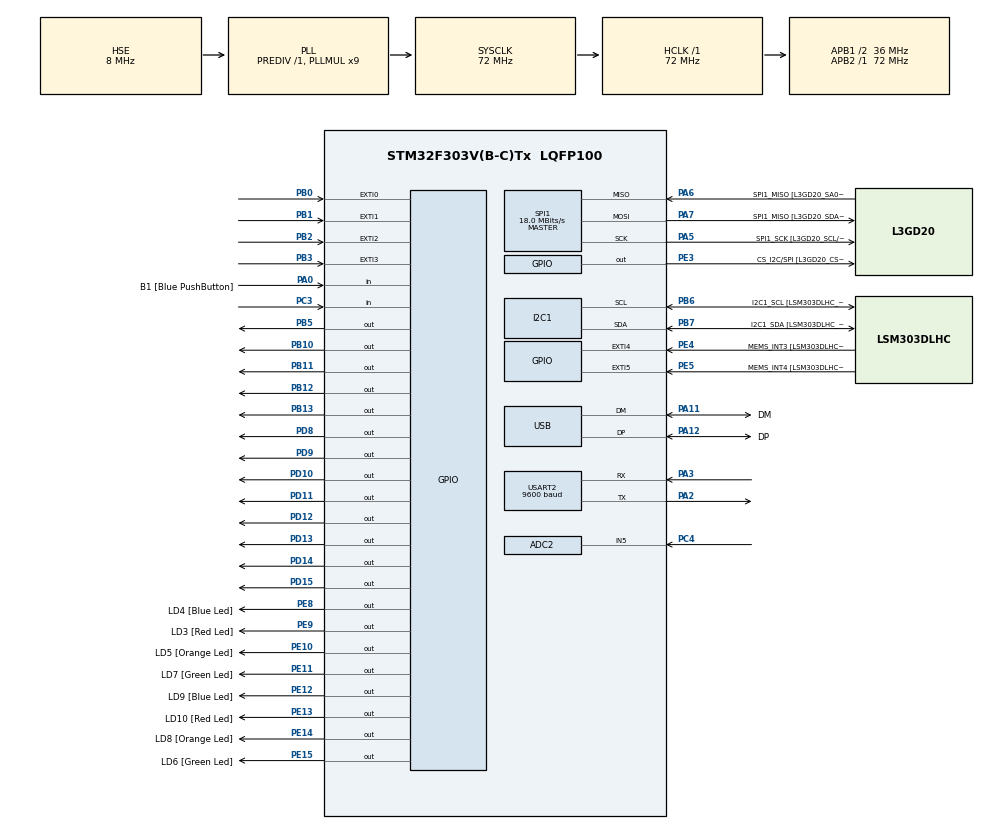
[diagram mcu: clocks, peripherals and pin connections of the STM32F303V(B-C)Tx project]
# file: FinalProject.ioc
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ADC2.Channel-0\#ChannelRegularConversion=ADC_CHANNEL_5
ADC2.NbrOfConversionFlag=1
ADC2.Offset-0\#ChannelRegularConversion=0
ADC2.OffsetNumber-0\#ChannelRegularConversion=ADC_OFFSET_NONE
ADC2.Rank-0\#ChannelRegularConversion=1
ADC2.SamplingTime-0\#ChannelRegularConversion=ADC_SAMPLETIME_601CYCLES_5
ADC2.SamplingTimeOPAMP-0\#ChannelRegularConversion=ADC_SAMPLETIME_61CYCLES_5
I2C1.Timing-I2C=0x2000090E
Mcu.Family=STM32F3
Mcu.Name=STM32F303V(B-C)Tx
Mcu.Package=LQFP100
NVIC.ADC1_2_IRQn=true\:3\:0\:true\:false\:true\:true\:true
NVIC.EXTI0_IRQn=true\:1\:0\:true\:false\:true\:true\:true
NVIC.EXTI1_IRQn=true\:1\:0\:true\:false\:true\:true\:true
NVIC.EXTI2_TSC_IRQn=true\:1\:0\:true\:false\:true\:true\:true
NVIC.EXTI3_IRQn=true\:1\:0\:true\:false\:true\:true\:true
NVIC.PriorityGroup=NVIC_PRIORITYGROUP_2
NVIC.TIM2_IRQn=true\:1\:0\:true\:false\:true\:true\:true
NVIC.USART2_IRQn=true\:1\:0\:true\:false\:true\:true\:true
PA0.GPIO_Label=B1 [Blue PushButton]
PA0.Signal=GPIO_Input
PA11.GPIO_Label=DM
PA11.Mode=Device
PA11.Signal=USB_DM
PA12.GPIO_Label=DP
PA12.Mode=Device
PA12.Signal=USB_DP
PA13.GPIO_Label=SWDIO
PA13.Mode=Serial_Wire
PA13.Signal=SYS_JTMS-SWDIO
PA14.GPIO_Label=SWCLK
PA14.Mode=Serial_Wire
PA14.Signal=SYS_JTCK-SWCLK
PA2.Mode=Asynchronous
PA2.Signal=USART2_TX
PA3.Mode=Asynchronous
PA3.Signal=USART2_RX
PA5.GPIO_Label=SPI1_SCK [L3GD20_SCL/SPC]
PA5.Mode=Full_Duplex_Master
PA5.Signal=SPI1_SCK
PA6.GPIO_Label=SPI1_MISO [L3GD20_SA0/SDO]
PA6.Mode=Full_Duplex_Master
PA6.Signal=SPI1_MISO
PA7.GPIO_Label=SPI1_MISO [L3GD20_SDA/SDI/SDO]
PA7.Mode=Full_Duplex_Master
PA7.Signal=SPI1_MOSI
PB0.GPIO_PuPd=GPIO_PULLDOWN
PB0.Signal=GPXTI0
PB1.GPIO_PuPd=GPIO_PULLDOWN
PB1.Signal=GPXTI1
PB10.Signal=GPIO_Output
PB11.Signal=GPIO_Output
PB12.Signal=GPIO_Output
PB13.Signal=GPIO_Output
PB2.GPIO_PuPd=GPIO_PULLDOWN
PB2.Signal=GPXTI2
PB3.GPIO_PuPd=GPIO_PULLDOWN
PB3.Signal=GPXTI3
PB5.Signal=GPIO_Output
PB6.GPIO_Label=I2C1_SCL [LSM303DLHC_SCL]
PB6.Mode=I2C
PB6.Signal=I2C1_SCL
PB7.GPIO_Label=I2C1_SDA [LSM303DLHC_SDA]
PB7.Mode=I2C
PB7.Signal=I2C1_SDA
PC14-OSC32_IN.GPIO_Label=OSC32_IN
PC14-OSC32_IN.Signal=RCC_OSC32_IN
PC15-OSC32_OUT.GPIO_Label=OSC32_OUT
PC15-OSC32_OUT.Signal=RCC_OSC32_OUT
PC3.Signal=GPIO_Input
PC4.Mode=IN5-Single-Ended
PC4.Signal=ADC2_IN5
PD10.Signal=GPIO_Output
PD11.Signal=GPIO_Output
PD12.Signal=GPIO_Output
PD13.Signal=GPIO_Output
PD14.Signal=GPIO_Output
PD15.Signal=GPIO_Output
PD8.Signal=GPIO_Output
PD9.Signal=GPIO_Output
PE10.GPIO_Label=LD5 [Orange Led]
PE10.Signal=GPIO_Output
PE11.GPIO_Label=LD7 [Green Led]
PE11.Signal=GPIO_Output
PE12.GPIO_Label=LD9 [Blue Led]
PE12.Signal=GPIO_Output
PE13.GPIO_Label=LD10 [Red Led]
PE13.Signal=GPIO_Output
PE14.GPIO_Label=LD8 [Orange Led]
PE14.Signal=GPIO_Output
PE15.GPIO_Label=LD6 [Green Led]
PE15.Signal=GPIO_Output
PE3.GPIO_Label=CS_I2C/SPI [L3GD20_CS_I2C/SPI]
PE3.Signal=GPIO_Output
PE4.GPIO_Label=MEMS_INT3 [LSM303DLHC_INT1]
PE4.GPIO_ModeDefaultEXTI=GPIO_MODE_EVT_RISING
PE4.Signal=GPXTI4
PE5.GPIO_Label=MEMS_INT4 [LSM303DLHC_INT2]
PE5.GPIO_ModeDefaultEXTI=GPIO_MODE_EVT_RISING
PE5.Signal=GPXTI5
PE8.GPIO_Label=LD4 [Blue Led]
PE8.Signal=GPIO_Output
PE9.GPIO_Label=LD3 [Red Led]
PE9.Signal=GPIO_Output
PF0-OSC_IN.GPIO_Label=OSC_IN
PF0-OSC_IN.Mode=HSE-External-Clock-Source
PF0-OSC_IN.Signal=RCC_OSC_IN
PF1-OSC_OUT.GPIO_Label=OSC_OUT
PF1-OSC_OUT.Signal=RCC_OSC_OUT
ProjectManager.HeapSize=0x200
ProjectManager.StackSize=0x400
ProjectManager.TargetToolchain=STM32CubeIDE
RCC.AHBFreq_Value=72000000
RCC.APB1CLKDivider=RCC_HCLK_DIV2
RCC.APB1Freq_Value=36000000
RCC.APB1TimFreq_Value=72000000
RCC.APB2Freq_Value=72000000
RCC.APB2TimFreq_Value=72000000
RCC.CortexFreq_Value=72000000
RCC.HCLKFreq_Value=72000000
RCC.HSE_VALUE=8000000
RCC.HSI_VALUE=8000000
RCC.LSE_VALUE=32768
RCC.PLLMUL=RCC_PLL_MUL9
RCC.PRESCALERUSB=RCC_USBCLKSOURCE_PLL_DIV1_5
RCC.SYSCLKFreq_VALUE=72000000
RCC.SYSCLKSourceVirtual=RCC_SYSCLKSOURCE_PLLCLK
RCC.USBFreq_Value=48000000
SPI1.BaudRatePrescaler=SPI_BAUDRATEPRESCALER_4
SPI1.BaudRatePrescaler-Full_Duplex_Master=SPI_BAUDRATEPRESCALER_2
SPI1.CalculateBaudRate=18.0 MBits/s
SPI1.CalculateBaudRate-Full_Duplex_Master=24.0 MBits/s
SPI1.Direction=SPI_DIRECTION_2LINES
SPI1.Mode=SPI_MODE_MASTER
SPI1.Mode-Full_Duplex_Master=SPI_MODE_MASTER
SPI1.VirtualType=VM_MASTER
TIM2.Period=100
TIM2.Prescaler=959
USART2.BaudRate=9600
USART2.VirtualMode-Asynchronous=VM_ASYNC
VP_TIM2_VS_ClockSourceINT.Mode=Internal
board=STM32F3DISCOVERY

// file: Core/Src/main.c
/* USER CODE BEGIN Header */
/**
 ******************************************************************************
 * @file           : main.c
 * @brief          : Main program body
 ******************************************************************************
 * @attention
 *
 * <h2><center>&copy; Copyright (c) 2021 STMicroelectronics.
 * All rights reserved.</center></h2>
 *
 * This software component is licensed by ST under BSD 3-Clause license,
 * the "License"; You may not use this file except in compliance with the
 * License. You may obtain a copy of the License at:
 *                        opensource.org/licenses/BSD-3-Clause
 *
 ******************************************************************************
 */
/* USER CODE END Header */
#include "main.h"

/* USER CODE BEGIN Includes */
#include "stm32f3xx_it.h"
#include "Map.h"
/* USER CODE END Includes */

/* USER CODE BEGIN PD */
int eachSevenSegment[4] = { 0, 0, 0, 0 };
int time_stamp;

/* USER CODE END PD */

ADC_HandleTypeDef hadc2;

I2C_HandleTypeDef hi2c1;

SPI_HandleTypeDef hspi1;

TIM_HandleTypeDef htim2;

UART_HandleTypeDef huart2;

PCD_HandleTypeDef hpcd_USB_FS;

/* USER CODE BEGIN PV */
unsigned char data[1];

/* USER CODE END PV */

void SystemClock_Config(void);
static void MX_GPIO_Init(void);
static void MX_I2C1_Init(void);
static void MX_SPI1_Init(void);
static void MX_USB_PCD_Init(void);
static void MX_TIM2_Init(void);
static void MX_ADC2_Init(void);
static void MX_USART2_UART_Init(void);

/* USER CODE BEGIN 0 */
void init_first() {
	__HAL_RCC_GPIOC_CLK_ENABLE();
	__HAL_RCC_GPIOD_CLK_ENABLE();

	GPIO_InitTypeDef temp1;
	temp1.Pin = GPIO_PIN_8 | GPIO_PIN_9 | GPIO_PIN_10 | GPIO_PIN_11  |GPIO_PIN_3;
	temp1.Mode = GPIO_MODE_OUTPUT_PP;
	temp1.Speed = GPIO_SPEED_FREQ_HIGH;
	HAL_GPIO_Init(GPIOC, &temp1);

	GPIO_InitTypeDef outputs;
	outputs.Pin = GPIO_PIN_0 | GPIO_PIN_1 | GPIO_PIN_2 | GPIO_PIN_3;
	outputs.Mode = GPIO_MODE_OUTPUT_PP;
	outputs.Speed = GPIO_SPEED_FREQ_HIGH;
	HAL_GPIO_Init(GPIOD, &outputs);
////////////
	LiquidCrystal(GPIOD, GPIO_PIN_8, GPIO_PIN_9, GPIO_PIN_10, GPIO_PIN_11,
	GPIO_PIN_12, GPIO_PIN_13, GPIO_PIN_14);
	begin(20, 4);
	threshold = 5;
	current_start_map = 1;
	start = 1;
	for (int var = 0; var < 4; ++var) {
		eachSevenSegment[var] = 0;
	}
	time_stamp = HAL_GetTick();
	__HAL_RCC_GPIOB_CLK_ENABLE();
	GPIO_InitTypeDef temp;
	temp.Pin = GPIO_PIN_10 | GPIO_PIN_11 | GPIO_PIN_12 | GPIO_PIN_13;
	temp.Mode = GPIO_MODE_OUTPUT_PP;
	temp.Speed = GPIO_SPEED_FREQ_HIGH;
	HAL_GPIO_Init(GPIOB, &temp);
	HAL_GPIO_WritePin(GPIOB, GPIO_PIN_10, GPIO_PIN_SET);
	HAL_GPIO_WritePin(GPIOB, GPIO_PIN_11, GPIO_PIN_SET);
	HAL_GPIO_WritePin(GPIOB, GPIO_PIN_12, GPIO_PIN_SET);
	HAL_GPIO_WritePin(GPIOB, GPIO_PIN_13, GPIO_PIN_SET);
	HAL_GPIO_WritePin(GPIOE, GPIO_PIN_9, 1);
	HAL_GPIO_WritePin(GPIOE, GPIO_PIN_10, 1);
	HAL_GPIO_WritePin(GPIOE, GPIO_PIN_8, 1);
}
/* USER CODE END 0 */

int main(void)
{

  /* MCU Configuration--------------------------------------------------------*/

  /* Reset of all peripherals, Initializes the Flash interface and the Systick. */
  HAL_Init();

  /* USER CODE BEGIN Init */
	__HAL_RCC_GPIOD_CLK_ENABLE();

  /* USER CODE END Init */

  /* Configure the system clock */
  SystemClock_Config();

  /* Initialize all configured peripherals */
  MX_GPIO_Init();
  MX_I2C1_Init();
  MX_SPI1_Init();
  MX_USB_PCD_Init();
  MX_TIM2_Init();
  MX_ADC2_Init();
  MX_USART2_UART_Init();
  /* USER CODE BEGIN 2 */
	//initial
	init_first();
	create_rows();
	HAL_TIM_Base_Start_IT(&htim2);
	HAL_UART_Receive_IT(&huart2, data, sizeof(data));

	HAL_ADC_Start_IT(&hadc2);

  /* USER CODE END 2 */

  /* Infinite loop */
	while (1) {

	}
}

void SystemClock_Config(void)
{
  RCC_OscInitTypeDef RCC_OscInitStruct = {0};
  RCC_ClkInitTypeDef RCC_ClkInitStruct = {0};
  RCC_PeriphCLKInitTypeDef PeriphClkInit = {0};

  /** Initializes the RCC Oscillators according to the specified parameters
  * in the RCC_OscInitTypeDef structure.
  */
  RCC_OscInitStruct.OscillatorType = RCC_OSCILLATORTYPE_HSI|RCC_OSCILLATORTYPE_HSE;
  RCC_OscInitStruct.HSEState = RCC_HSE_BYPASS;
  RCC_OscInitStruct.HSEPredivValue = RCC_HSE_PREDIV_DIV1;
  RCC_OscInitStruct.HSIState = RCC_HSI_ON;
  RCC_OscInitStruct.HSICalibrationValue = RCC_HSICALIBRATION_DEFAULT;
  RCC_OscInitStruct.PLL.PLLState = RCC_PLL_ON;
  RCC_OscInitStruct.PLL.PLLSource = RCC_PLLSOURCE_HSE;
  RCC_OscInitStruct.PLL.PLLMUL = RCC_PLL_MUL9;
  if (HAL_RCC_OscConfig(&RCC_OscInitStruct) != HAL_OK)
  {
    Error_Handler();
  }
  /** Initializes the CPU, AHB and APB buses clocks
  */
  RCC_ClkInitStruct.ClockType = RCC_CLOCKTYPE_HCLK|RCC_CLOCKTYPE_SYSCLK
                              |RCC_CLOCKTYPE_PCLK1|RCC_CLOCKTYPE_PCLK2;
  RCC_ClkInitStruct.SYSCLKSource = RCC_SYSCLKSOURCE_PLLCLK;
  RCC_ClkInitStruct.AHBCLKDivider = RCC_SYSCLK_DIV1;
  RCC_ClkInitStruct.APB1CLKDivider = RCC_HCLK_DIV2;
  RCC_ClkInitStruct.APB2CLKDivider = RCC_HCLK_DIV1;

  if (HAL_RCC_ClockConfig(&RCC_ClkInitStruct, FLASH_LATENCY_2) != HAL_OK)
  {
    Error_Handler();
  }
  PeriphClkInit.PeriphClockSelection = RCC_PERIPHCLK_USB|RCC_PERIPHCLK_USART2
                              |RCC_PERIPHCLK_I2C1|RCC_PERIPHCLK_ADC12;
  PeriphClkInit.Usart2ClockSelection = RCC_USART2CLKSOURCE_PCLK1;
  PeriphClkInit.Adc12ClockSelection = RCC_ADC12PLLCLK_DIV1;
  PeriphClkInit.I2c1ClockSelection = RCC_I2C1CLKSOURCE_HSI;
  PeriphClkInit.USBClockSelection = RCC_USBCLKSOURCE_PLL_DIV1_5;
  if (HAL_RCCEx_PeriphCLKConfig(&PeriphClkInit) != HAL_OK)
  {
    Error_Handler();
  }
}

static void MX_ADC2_Init(void)
{

  ADC_ChannelConfTypeDef sConfig = {0};

  /** Common config
  */
  hadc2.Instance = ADC2;
  hadc2.Init.ClockPrescaler = ADC_CLOCK_ASYNC_DIV1;
  hadc2.Init.Resolution = ADC_RESOLUTION_12B;
  hadc2.Init.ScanConvMode = ADC_SCAN_DISABLE;
  hadc2.Init.ContinuousConvMode = DISABLE;
  hadc2.Init.DiscontinuousConvMode = DISABLE;
  hadc2.Init.ExternalTrigConvEdge = ADC_EXTERNALTRIGCONVEDGE_NONE;
  hadc2.Init.ExternalTrigConv = ADC_SOFTWARE_START;
  hadc2.Init.DataAlign = ADC_DATAALIGN_RIGHT;
  hadc2.Init.NbrOfConversion = 1;
  hadc2.Init.DMAContinuousRequests = DISABLE;
  hadc2.Init.EOCSelection = ADC_EOC_SINGLE_CONV;
  hadc2.Init.LowPowerAutoWait = DISABLE;
  hadc2.Init.Overrun = ADC_OVR_DATA_OVERWRITTEN;
  if (HAL_ADC_Init(&hadc2) != HAL_OK)
  {
    Error_Handler();
  }
  /** Configure Regular Channel
  */
  sConfig.Channel = ADC_CHANNEL_5;
  sConfig.Rank = ADC_REGULAR_RANK_1;
  sConfig.SingleDiff = ADC_SINGLE_ENDED;
  sConfig.SamplingTime = ADC_SAMPLETIME_601CYCLES_5;
  sConfig.OffsetNumber = ADC_OFFSET_NONE;
  sConfig.Offset = 0;
  if (HAL_ADC_ConfigChannel(&hadc2, &sConfig) != HAL_OK)
  {
    Error_Handler();
  }

}

static void MX_I2C1_Init(void)
{

  hi2c1.Instance = I2C1;
  hi2c1.Init.Timing = 0x2000090E;
  hi2c1.Init.OwnAddress1 = 0;
  hi2c1.Init.AddressingMode = I2C_ADDRESSINGMODE_7BIT;
  hi2c1.Init.DualAddressMode = I2C_DUALADDRESS_DISABLE;
  hi2c1.Init.OwnAddress2 = 0;
  hi2c1.Init.OwnAddress2Masks = I2C_OA2_NOMASK;
  hi2c1.Init.GeneralCallMode = I2C_GENERALCALL_DISABLE;
  hi2c1.Init.NoStretchMode = I2C_NOSTRETCH_DISABLE;
  if (HAL_I2C_Init(&hi2c1) != HAL_OK)
  {
    Error_Handler();
  }
  /** Configure Analogue filter
  */
  if (HAL_I2CEx_ConfigAnalogFilter(&hi2c1, I2C_ANALOGFILTER_ENABLE) != HAL_OK)
  {
    Error_Handler();
  }
  /** Configure Digital filter
  */
  if (HAL_I2CEx_ConfigDigitalFilter(&hi2c1, 0) != HAL_OK)
  {
    Error_Handler();
  }

}

static void MX_SPI1_Init(void)
{

  /* SPI1 parameter configuration*/
  hspi1.Instance = SPI1;
  hspi1.Init.Mode = SPI_MODE_MASTER;
  hspi1.Init.Direction = SPI_DIRECTION_2LINES;
  hspi1.Init.DataSize = SPI_DATASIZE_4BIT;
  hspi1.Init.CLKPolarity = SPI_POLARITY_LOW;
  hspi1.Init.CLKPhase = SPI_PHASE_1EDGE;
  hspi1.Init.NSS = SPI_NSS_SOFT;
  hspi1.Init.BaudRatePrescaler = SPI_BAUDRATEPRESCALER_4;
  hspi1.Init.FirstBit = SPI_FIRSTBIT_MSB;
  hspi1.Init.TIMode = SPI_TIMODE_DISABLE;
  hspi1.Init.CRCCalculation = SPI_CRCCALCULATION_DISABLE;
  hspi1.Init.CRCPolynomial = 7;
  hspi1.Init.CRCLength = SPI_CRC_LENGTH_DATASIZE;
  hspi1.Init.NSSPMode = SPI_NSS_PULSE_ENABLE;
  if (HAL_SPI_Init(&hspi1) != HAL_OK)
  {
    Error_Handler();
  }

}

static void MX_TIM2_Init(void)
{

  TIM_ClockConfigTypeDef sClockSourceConfig = {0};
  TIM_MasterConfigTypeDef sMasterConfig = {0};

  htim2.Instance = TIM2;
  htim2.Init.Prescaler = 959;
  htim2.Init.CounterMode = TIM_COUNTERMODE_UP;
  htim2.Init.Period = 100;
  htim2.Init.ClockDivision = TIM_CLOCKDIVISION_DIV1;
  htim2.Init.AutoReloadPreload = TIM_AUTORELOAD_PRELOAD_DISABLE;
  if (HAL_TIM_Base_Init(&htim2) != HAL_OK)
  {
    Error_Handler();
  }
  sClockSourceConfig.ClockSource = TIM_CLOCKSOURCE_INTERNAL;
  if (HAL_TIM_ConfigClockSource(&htim2, &sClockSourceConfig) != HAL_OK)
  {
    Error_Handler();
  }
  sMasterConfig.MasterOutputTrigger = TIM_TRGO_RESET;
  sMasterConfig.MasterSlaveMode = TIM_MASTERSLAVEMODE_DISABLE;
  if (HAL_TIMEx_MasterConfigSynchronization(&htim2, &sMasterConfig) != HAL_OK)
  {
    Error_Handler();
  }

}

static void MX_USART2_UART_Init(void)
{

  huart2.Instance = USART2;
  huart2.Init.BaudRate = 9600;
  huart2.Init.WordLength = UART_WORDLENGTH_8B;
  huart2.Init.StopBits = UART_STOPBITS_1;
  huart2.Init.Parity = UART_PARITY_NONE;
  huart2.Init.Mode = UART_MODE_TX_RX;
  huart2.Init.HwFlowCtl = UART_HWCONTROL_NONE;
  huart2.Init.OverSampling = UART_OVERSAMPLING_16;
  huart2.Init.OneBitSampling = UART_ONE_BIT_SAMPLE_DISABLE;
  huart2.AdvancedInit.AdvFeatureInit = UART_ADVFEATURE_NO_INIT;
  if (HAL_UART_Init(&huart2) != HAL_OK)
  {
    Error_Handler();
  }

}

static void MX_USB_PCD_Init(void)
{

  hpcd_USB_FS.Instance = USB;
  hpcd_USB_FS.Init.dev_endpoints = 8;
  hpcd_USB_FS.Init.speed = PCD_SPEED_FULL;
  hpcd_USB_FS.Init.phy_itface = PCD_PHY_EMBEDDED;
  hpcd_USB_FS.Init.low_power_enable = DISABLE;
  hpcd_USB_FS.Init.battery_charging_enable = DISABLE;
  if (HAL_PCD_Init(&hpcd_USB_FS) != HAL_OK)
  {
    Error_Handler();
  }

}

static void MX_GPIO_Init(void)
{
  GPIO_InitTypeDef GPIO_InitStruct = {0};

  /* GPIO Ports Clock Enable */
  __HAL_RCC_GPIOE_CLK_ENABLE();
  __HAL_RCC_GPIOC_CLK_ENABLE();
  __HAL_RCC_GPIOF_CLK_ENABLE();
  __HAL_RCC_GPIOA_CLK_ENABLE();
  __HAL_RCC_GPIOB_CLK_ENABLE();
  __HAL_RCC_GPIOD_CLK_ENABLE();

  /*Configure GPIO pin Output Level */
  HAL_GPIO_WritePin(GPIOE, CS_I2C_SPI_Pin|LD4_Pin|LD3_Pin|LD5_Pin
                          |LD7_Pin|LD9_Pin|LD10_Pin|LD8_Pin
                          |LD6_Pin, GPIO_PIN_RESET);

  /*Configure GPIO pin Output Level */
  HAL_GPIO_WritePin(GPIOB, GPIO_PIN_10|GPIO_PIN_11|GPIO_PIN_12|GPIO_PIN_13
                          |GPIO_PIN_5, GPIO_PIN_RESET);

  /*Configure GPIO pin Output Level */
  HAL_GPIO_WritePin(GPIOD, GPIO_PIN_8|GPIO_PIN_9|GPIO_PIN_10|GPIO_PIN_11
                          |GPIO_PIN_12|GPIO_PIN_13|GPIO_PIN_14|GPIO_PIN_15, GPIO_PIN_RESET);

  /*Configure GPIO pins : CS_I2C_SPI_Pin LD4_Pin LD3_Pin LD5_Pin
                           LD7_Pin LD9_Pin LD10_Pin LD8_Pin
                           LD6_Pin */
  GPIO_InitStruct.Pin = CS_I2C_SPI_Pin|LD4_Pin|LD3_Pin|LD5_Pin
                          |LD7_Pin|LD9_Pin|LD10_Pin|LD8_Pin
                          |LD6_Pin;
  GPIO_InitStruct.Mode = GPIO_MODE_OUTPUT_PP;
  GPIO_InitStruct.Pull = GPIO_NOPULL;
  GPIO_InitStruct.Speed = GPIO_SPEED_FREQ_LOW;
  HAL_GPIO_Init(GPIOE, &GPIO_InitStruct);

  /*Configure GPIO pins : MEMS_INT3_Pin MEMS_INT4_Pin */
  GPIO_InitStruct.Pin = MEMS_INT3_Pin|MEMS_INT4_Pin;
  GPIO_InitStruct.Mode = GPIO_MODE_EVT_RISING;
  GPIO_InitStruct.Pull = GPIO_NOPULL;
  HAL_GPIO_Init(GPIOE, &GPIO_InitStruct);

  /*Configure GPIO pin : PC3 */
  GPIO_InitStruct.Pin = GPIO_PIN_3;
  GPIO_InitStruct.Mode = GPIO_MODE_INPUT;
  GPIO_InitStruct.Pull = GPIO_NOPULL;
  HAL_GPIO_Init(GPIOC, &GPIO_InitStruct);

  /*Configure GPIO pin : B1_Pin */
  GPIO_InitStruct.Pin = B1_Pin;
  GPIO_InitStruct.Mode = GPIO_MODE_INPUT;
  GPIO_InitStruct.Pull = GPIO_NOPULL;
  HAL_GPIO_Init(B1_GPIO_Port, &GPIO_InitStruct);

  /*Configure GPIO pins : PB0 PB1 PB2 PB3 */
  GPIO_InitStruct.Pin = GPIO_PIN_0|GPIO_PIN_1|GPIO_PIN_2|GPIO_PIN_3;
  GPIO_InitStruct.Mode = GPIO_MODE_IT_RISING;
  GPIO_InitStruct.Pull = GPIO_PULLDOWN;
  HAL_GPIO_Init(GPIOB, &GPIO_InitStruct);

  /*Configure GPIO pins : PB10 PB11 PB12 PB13
                           PB5 */
  GPIO_InitStruct.Pin = GPIO_PIN_10|GPIO_PIN_11|GPIO_PIN_12|GPIO_PIN_13
                          |GPIO_PIN_5;
  GPIO_InitStruct.Mode = GPIO_MODE_OUTPUT_PP;
  GPIO_InitStruct.Pull = GPIO_NOPULL;
  GPIO_InitStruct.Speed = GPIO_SPEED_FREQ_LOW;
  HAL_GPIO_Init(GPIOB, &GPIO_InitStruct);

  /*Configure GPIO pins : PD8 PD9 PD10 PD11
                           PD12 PD13 PD14 PD15 */
  GPIO_InitStruct.Pin = GPIO_PIN_8|GPIO_PIN_9|GPIO_PIN_10|GPIO_PIN_11
                          |GPIO_PIN_12|GPIO_PIN_13|GPIO_PIN_14|GPIO_PIN_15;
  GPIO_InitStruct.Mode = GPIO_MODE_OUTPUT_PP;
  GPIO_InitStruct.Pull = GPIO_NOPULL;
  GPIO_InitStruct.Speed = GPIO_SPEED_FREQ_LOW;
  HAL_GPIO_Init(GPIOD, &GPIO_InitStruct);

  /* EXTI interrupt init*/
  HAL_NVIC_SetPriority(EXTI0_IRQn, 1, 0);
  HAL_NVIC_EnableIRQ(EXTI0_IRQn);

  HAL_NVIC_SetPriority(EXTI1_IRQn, 1, 0);
  HAL_NVIC_EnableIRQ(EXTI1_IRQn);

  HAL_NVIC_SetPriority(EXTI2_TSC_IRQn, 1, 0);
  HAL_NVIC_EnableIRQ(EXTI2_TSC_IRQn);

  HAL_NVIC_SetPriority(EXTI3_IRQn, 1, 0);
  HAL_NVIC_EnableIRQ(EXTI3_IRQn);

}

void Error_Handler(void)
{
	__disable_irq();
	while (1) {
	}
}

/************************ (C) COPYRIGHT STMicroelectronics *****END OF FILE****/
